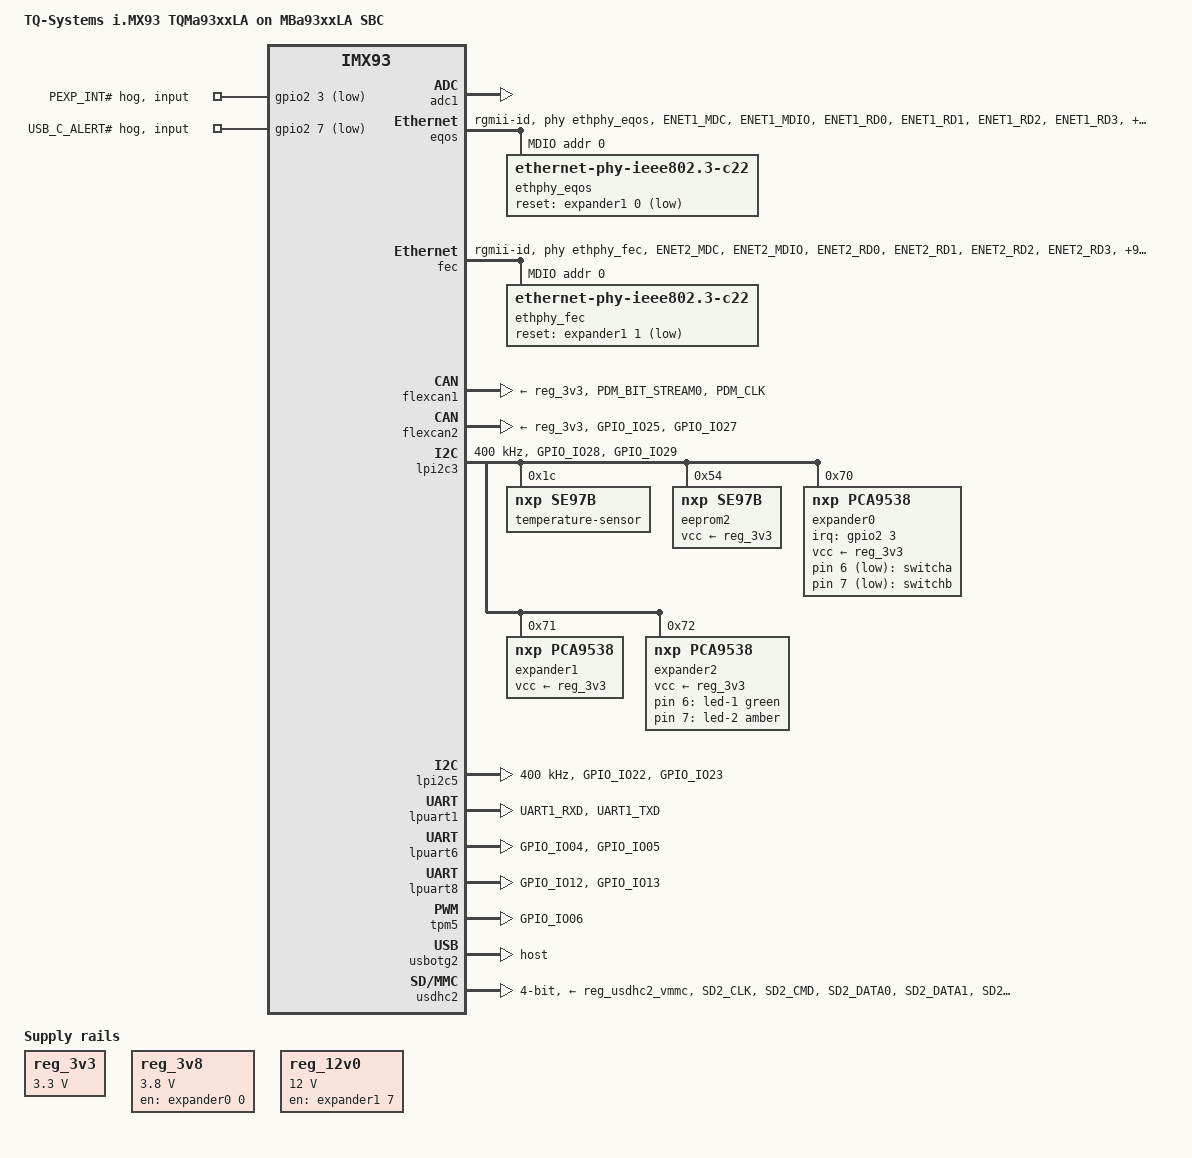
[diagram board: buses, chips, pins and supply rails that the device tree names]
// SPDX-License-Identifier: (GPL-2.0-or-later OR MIT)
/*
 * Copyright (c) 2022-2023 TQ-Systems GmbH <linux@ew.tq-group.com>,
 * D-82229 Seefeld, Germany.
 * Author: Markus Niebel
 */
/dts-v1/;

#include <dt-bindings/input/input.h>
#include <dt-bindings/leds/common.h>
#include <dt-bindings/net/ti-dp83867.h>
#include <dt-bindings/pwm/pwm.h>
#include <dt-bindings/usb/pd.h>
#include "imx93-tqma9352.dtsi"

/{
	model = "TQ-Systems i.MX93 TQMa93xxLA on MBa93xxLA SBC";
	compatible = "tq,imx93-tqma9352-mba93xxla",
		     "tq,imx93-tqma9352", "fsl,imx93";

	chosen {
		stdout-path = &lpuart1;
	};

	aliases {
		eeprom0 = &eeprom0;
		rtc0 = &pcf85063;
		rtc1 = &bbnsm_rtc;
	};

	backlight_lvds: backlight {
		compatible = "pwm-backlight";
		pwms = <&tpm5 0 5000000 0>;
		brightness-levels = <0 4 8 16 32 64 128 255>;
		default-brightness-level = <7>;
		power-supply = <&reg_12v0>;
		enable-gpios = <&expander2 2 GPIO_ACTIVE_HIGH>;
		status = "disabled";
	};

	display: display {
		/*
		 * Display is not fixed, so compatible has to be added from
		 * DT overlay
		 */
		power-supply = <&reg_3v3>;
		enable-gpios = <&expander2 1 GPIO_ACTIVE_HIGH>;
		backlight = <&backlight_lvds>;
		status = "disabled";

		port {
			panel_in_lvds0: endpoint {
				remote-endpoint = <&lvds_channel0_out>;
			};
		};
	};

	gpio-keys {
		compatible = "gpio-keys";
		autorepeat;

		switch-a {
			label = "switcha";
			linux,code = <BTN_0>;
			gpios = <&expander0 6 GPIO_ACTIVE_LOW>;
			wakeup-source;
		};

		switch-b {
			label = "switchb";
			linux,code = <BTN_1>;
			gpios = <&expander0 7 GPIO_ACTIVE_LOW>;
			wakeup-source;
		};
	};

	gpio-leds {
		compatible = "gpio-leds";

		led-1 {
			color = <LED_COLOR_ID_GREEN>;
			function = LED_FUNCTION_STATUS;
			gpios = <&expander2 6 GPIO_ACTIVE_HIGH>;
			linux,default-trigger = "default-on";
		};

		led-2 {
			color = <LED_COLOR_ID_AMBER>;
			function = LED_FUNCTION_HEARTBEAT;
			gpios = <&expander2 7 GPIO_ACTIVE_HIGH>;
			linux,default-trigger = "heartbeat";
		};
	};

	reg_3v3: regulator-3v3 {
		compatible = "regulator-fixed";
		regulator-name = "V_3V3";
		regulator-min-microvolt = <3300000>;
		regulator-max-microvolt = <3300000>;
		regulator-always-on;
	};

	reg_3v8: regulator-3v8 {
		compatible = "regulator-fixed";
		regulator-name = "V_3V8";
		regulator-min-microvolt = <3800000>;
		regulator-max-microvolt = <3800000>;
		gpio = <&expander0 0 GPIO_ACTIVE_HIGH>;
		enable-active-high;
		/* TODO: this is supply for IOT module */
		regulator-always-on;
	};

	reg_12v0: regulator-12v0 {
		compatible = "regulator-fixed";
		regulator-name = "V_12V";
		regulator-min-microvolt = <12000000>;
		regulator-max-microvolt = <12000000>;
		gpio = <&expander1 7 GPIO_ACTIVE_HIGH>;
		enable-active-high;
	};
};

&adc1 {
	status = "okay";
};

&eqos {
	pinctrl-names = "default";
	pinctrl-0 = <&pinctrl_eqos>, <&pinctrl_eqos_phy>;
	phy-mode = "rgmii-id";
	phy-handle = <&ethphy_eqos>;
	status = "okay";

	mdio {
		compatible = "snps,dwmac-mdio";
		#address-cells = <1>;
		#size-cells = <0>;

		ethphy_eqos: ethernet-phy@0 {
			compatible = "ethernet-phy-ieee802.3-c22";
			reg = <0>;
			reset-gpios = <&expander1 0 GPIO_ACTIVE_LOW>;
			reset-assert-us = <500000>;
			reset-deassert-us = <50000>;
			ti,rx-internal-delay = <DP83867_RGMIIDCTL_2_25_NS>;
			ti,tx-internal-delay = <DP83867_RGMIIDCTL_2_25_NS>;
			ti,fifo-depth = <DP83867_PHYCR_FIFO_DEPTH_4_B_NIB>;
			ti,dp83867-rxctrl-strap-quirk;
			ti,clk-output-sel = <DP83867_CLK_O_SEL_OFF>;
			enet-phy-lane-no-swap;
			/* LED0: Link, LED2: activity */
			ti,led-function = <0x0100>;
			/* LED0/2: active High, driven by phy function */
			ti,led-ctrl = <0x1414>;
		};
	};
};

&fec {
	pinctrl-names = "default";
	pinctrl-0 = <&pinctrl_fec>, <&pinctrl_fec_phy>;
	phy-mode = "rgmii-id";
	phy-handle = <&ethphy_fec>;
	fsl,magic-packet;
	status = "okay";

	mdio {
		#address-cells = <1>;
		#size-cells = <0>;
		clock-frequency = <5000000>;

		ethphy_fec: ethernet-phy@0 {
			compatible = "ethernet-phy-ieee802.3-c22";
			reg = <0>;
			reset-gpios = <&expander1 1 GPIO_ACTIVE_LOW>;
			reset-assert-us = <500000>;
			reset-deassert-us = <50000>;
			ti,rx-internal-delay = <DP83867_RGMIIDCTL_2_25_NS>;
			ti,tx-internal-delay = <DP83867_RGMIIDCTL_2_25_NS>;
			ti,fifo-depth = <DP83867_PHYCR_FIFO_DEPTH_4_B_NIB>;
			ti,dp83867-rxctrl-strap-quirk;
			ti,clk-output-sel = <DP83867_CLK_O_SEL_OFF>;
			enet-phy-lane-no-swap;
			/* LED0: Link, LED2: activity */
			ti,led-function = <0x0100>;
			/* LED0/2: active High, driven by phy function */
			ti,led-ctrl = <0x1414>;
		};
	};
};

&flexcan1 {
	pinctrl-names = "default";
	pinctrl-0 = <&pinctrl_flexcan1>;
	xceiver-supply = <&reg_3v3>;
	status = "okay";
};

&flexcan2 {
	pinctrl-names = "default";
	pinctrl-0 = <&pinctrl_flexcan2>;
	xceiver-supply = <&reg_3v3>;
	status = "okay";
};

&gpio2 {
	expander-irq-hog {
		gpio-hog;
		gpios = <3 GPIO_ACTIVE_LOW>;
		input;
		line-name = "PEXP_INT#";
	};

	tcpc-irq-hog {
		gpio-hog;
		gpios = <7 GPIO_ACTIVE_LOW>;
		input;
		line-name = "USB_C_ALERT#";
	};
};

&ldb {
	lvds-channel@0 {
		port@1 {
			reg = <1>;

			lvds_channel0_out: endpoint {
				remote-endpoint = <&panel_in_lvds0>;
			};
		};
	};
};

&lpi2c3 {
	#address-cells = <1>;
	#size-cells = <0>;
	clock-frequency = <400000>;
	pinctrl-names = "default", "sleep";
	pinctrl-0 = <&pinctrl_lpi2c3>;
	pinctrl-1 = <&pinctrl_lpi2c3>;
	status = "okay";

	/* NXP SE97BTP with temperature sensor + eeprom */
	temperature-sensor@1c {
		compatible = "nxp,se97b", "jedec,jc-42.4-temp";
		reg = <0x1c>;
	};

	tcpc: ptn5110@50 {
		compatible = "nxp,ptn5110";
		pinctrl-names = "default";
		pinctrl-0 = <&pinctrl_typec>;
		reg = <0x50>;
		interrupt-parent = <&gpio2>;
		interrupts = <7 IRQ_TYPE_EDGE_FALLING>;
		status = "disabled";

		port {
			typec_drd_sw: endpoint {
				remote-endpoint = <&usb1_drd_sw>;
			};
		};

		connector {
			compatible = "usb-c-connector";
			label = "USB-C";
			power-role = "dual";
			data-role = "dual";
			try-power-role = "sink";
			typec-power-opmode = "default";
			pd-disable;
			self-powered;
		};
	};

	eeprom2: eeprom@54 {
		compatible = "nxp,se97b", "atmel,24c02";
		reg = <0x54>;
		pagesize = <16>;
		vcc-supply = <&reg_3v3>;
	};

	expander0: gpio@70 {
		compatible = "nxp,pca9538";
		reg = <0x70>;
		pinctrl-names = "default";
		pinctrl-0 = <&pinctrl_pexp_irq>;
		gpio-controller;
		#gpio-cells = <2>;
		interrupt-controller;
		#interrupt-cells = <2>;
		interrupt-parent = <&gpio2>;
		interrupts = <3 IRQ_TYPE_LEVEL_LOW>;
		vcc-supply = <&reg_3v3>;
		gpio-line-names = "3V8_EN", "",
				  "", "IOT_PWRKEY",
				  "IOT_RESET", "IOT_W_DISABLE",
				  "BUTTON_A#", "BUTTON_B#";

		/*
		 * Controls the IOT W_DISABLE pin which is low active
		 * as disable signal but inverted as seen from the CPU.
		 * The output-low states, the signal is
		 * inactive, e.g. not disabled
		 */
		iot_wdisable_hog: iot-wdisable-hog {
			gpio-hog;
			gpios = <5 GPIO_ACTIVE_HIGH>;
			output-low;
			line-name = "IOT_W_DISABLE";
		};
	};

	expander1: gpio@71 {
		compatible = "nxp,pca9538";
		reg = <0x71>;
		gpio-controller;
		#gpio-cells = <2>;
		vcc-supply = <&reg_3v3>;
		gpio-line-names = "ENET1_RESET#", "ENET2_RESET#",
				  "USB_RESET#", "",
				  "WLAN_PD#", "WLAN_W_DISABLE#",
				  "WLAN_PERST#", "12V_EN";

		/*
		 * Controls the on board USB Hub reset which is low
		 * active as reset signal. The output-low states, the
		 * signal is inactive, e.g. no reset
		 */
		usb-reset-hog {
			gpio-hog;
			gpios = <2 GPIO_ACTIVE_LOW>;
			output-low;
			line-name = "USB_RESET#";
		};

		/*
		 * Controls the WiFi card PD pin which is low active
		 * as power down signal. The output-low states, the signal
		 * is inactive, e.g. not power down
		 */
		wlan-pd-hog {
			gpio-hog;
			gpios = <4 GPIO_ACTIVE_LOW>;
			output-low;
			line-name = "WLAN_PD#";
		};

		/*
		 * Controls the WiFi card disable pin which is low active
		 * as disable signal. The output-low states, the signal
		 * is inactive, e.g. not disabled
		 */
		wlan-wdisable-hog {
			gpio-hog;
			gpios = <5 GPIO_ACTIVE_LOW>;
			output-low;
			line-name = "WLAN_W_DISABLE#";
		};

		/*
		 * Controls the WiFi card reset pin which is low active
		 * as reset signal. The output-low states, the signal
		 * is inactive, e.g. not in reset
		 */
		wlan-perst-hog {
			gpio-hog;
			gpios = <6 GPIO_ACTIVE_LOW>;
			output-low;
			line-name = "WLAN_PERST#";
		};
	};

	expander2: gpio@72 {
		compatible = "nxp,pca9538";
		reg = <0x72>;
		gpio-controller;
		#gpio-cells = <2>;
		vcc-supply = <&reg_3v3>;
		gpio-line-names = "LCD_RESET#", "LCD_PWR_EN",
				  "LCD_BLT_EN", "DP_EN",
				  "MIPI_CSI_EN", "MIPI_CSI_RST#",
				  "USER_LED1", "USER_LED2";
	};
};

&lpi2c5 {
	#address-cells = <1>;
	#size-cells = <0>;
	clock-frequency = <400000>;
	pinctrl-names = "default", "sleep";
	pinctrl-0 = <&pinctrl_lpi2c5>;
	pinctrl-1 = <&pinctrl_lpi2c5>;
	status = "okay";
};

&lpuart1 { /* console */
	pinctrl-names = "default";
	pinctrl-0 = <&pinctrl_uart1>;
	status = "okay";
};

/* disabled per default, console for M33 */
&lpuart3 {
	pinctrl-names = "default";
	pinctrl-0 = <&pinctrl_uart3>;
	status = "disabled";
};

&lpuart6 {
	pinctrl-names = "default";
	pinctrl-0 = <&pinctrl_uart6>;
	status = "okay";
};

&lpuart8 {
	pinctrl-names = "default";
	pinctrl-0 = <&pinctrl_uart8>;
	status = "okay";
};

&tpm5 {
	pinctrl-names = "default";
	pinctrl-0 = <&pinctrl_tpm5>;
	status = "okay";
};

&usbotg1 {
	dr_mode = "otg";
	hnp-disable;
	srp-disable;
	adp-disable;
	usb-role-switch;
	disable-over-current;
	status = "disabled";

	port {
		usb1_drd_sw: endpoint {
			remote-endpoint = <&typec_drd_sw>;
		};
	};
};

&usbotg2 {
	dr_mode = "host";
	disable-over-current;
	status = "okay";
};

&usdhc2 {
	pinctrl-names = "default", "state_100mhz", "state_200mhz";
	pinctrl-0 = <&pinctrl_usdhc2_hs>, <&pinctrl_usdhc2_gpio>;
	pinctrl-1 = <&pinctrl_usdhc2_uhs>, <&pinctrl_usdhc2_gpio>;
	pinctrl-2 = <&pinctrl_usdhc2_uhs>, <&pinctrl_usdhc2_gpio>;
	cd-gpios = <&gpio3 00 GPIO_ACTIVE_LOW>;
	vmmc-supply = <&reg_usdhc2_vmmc>;
	bus-width = <4>;
	status = "okay";
	no-sdio;
	no-mmc;
};

&iomuxc {
	pinctrl_eqos: eqosgrp {
		fsl,pins = <
			/* PD | FSEL_2 | DSE X4 */
			MX93_PAD_ENET1_MDC__ENET_QOS_MDC		0x51e
			MX93_PAD_ENET1_MDIO__ENET_QOS_MDIO		0x4000051e
			/* PD | FSEL_2 | DSE X6 */
			MX93_PAD_ENET1_RD0__ENET_QOS_RGMII_RD0		0x57e
			MX93_PAD_ENET1_RD1__ENET_QOS_RGMII_RD1		0x57e
			MX93_PAD_ENET1_RD2__ENET_QOS_RGMII_RD2		0x57e
			MX93_PAD_ENET1_RD3__ENET_QOS_RGMII_RD3		0x57e
			/* PD | FSEL_3 | DSE X6 */
			MX93_PAD_ENET1_RXC__CCM_ENET_QOS_CLOCK_GENERATE_RX_CLK	0x5fe
			MX93_PAD_ENET1_RX_CTL__ENET_QOS_RGMII_RX_CTL	0x57e
			/* PD | FSEL_2 | DSE X4 */
			MX93_PAD_ENET1_TD0__ENET_QOS_RGMII_TD0		0x51e
			MX93_PAD_ENET1_TD1__ENET_QOS_RGMII_TD1		0x51e
			MX93_PAD_ENET1_TD2__ENET_QOS_RGMII_TD2		0x51e
			MX93_PAD_ENET1_TD3__ENET_QOS_RGMII_TD3		0x51e
			MX93_PAD_ENET1_TX_CTL__ENET_QOS_RGMII_TX_CTL	0x51e
			/* PD | FSEL_3 | DSE X3 */
			MX93_PAD_ENET1_TXC__CCM_ENET_QOS_CLOCK_GENERATE_TX_CLK	0x58e
		>;
	};

	pinctrl_eqos_phy: eqosphygrp {
		fsl,pins = <
			MX93_PAD_CCM_CLKO1__GPIO3_IO26		0x1306
		>;
	};

	pinctrl_fec: fecgrp {
		fsl,pins = <
			/* PD | FSEL_2 | DSE X4 */
			MX93_PAD_ENET2_MDC__ENET1_MDC			0x51e
			MX93_PAD_ENET2_MDIO__ENET1_MDIO			0x4000051e
			/* PD | FSEL_2 | DSE X6 */
			MX93_PAD_ENET2_RD0__ENET1_RGMII_RD0		0x57e
			MX93_PAD_ENET2_RD1__ENET1_RGMII_RD1		0x57e
			MX93_PAD_ENET2_RD2__ENET1_RGMII_RD2		0x57e
			MX93_PAD_ENET2_RD3__ENET1_RGMII_RD3		0x57e
			/* PD | FSEL_3 | DSE X6 */
			MX93_PAD_ENET2_RXC__ENET1_RGMII_RXC		0x5fe
			MX93_PAD_ENET2_RX_CTL__ENET1_RGMII_RX_CTL	0x57e
			/* PD | FSEL_2 | DSE X4 */
			MX93_PAD_ENET2_TD0__ENET1_RGMII_TD0		0x51e
			MX93_PAD_ENET2_TD1__ENET1_RGMII_TD1		0x51e
			MX93_PAD_ENET2_TD2__ENET1_RGMII_TD2		0x51e
			MX93_PAD_ENET2_TD3__ENET1_RGMII_TD3		0x51e
			MX93_PAD_ENET2_TX_CTL__ENET1_RGMII_TX_CTL	0x51e
			/* PD | FSEL_3 | DSE X3 */
			MX93_PAD_ENET2_TXC__ENET1_RGMII_TXC		0x58e
		>;
	};

	pinctrl_fec_phy: fecphygrp {
		fsl,pins = <
			MX93_PAD_CCM_CLKO2__GPIO3_IO27		0x1306
		>;
	};

	pinctrl_flexcan1: flexcan1grp {
		fsl,pins = <
			MX93_PAD_PDM_BIT_STREAM0__CAN1_RX	0x139e
			MX93_PAD_PDM_CLK__CAN1_TX		0x139e
		>;
	};

	pinctrl_flexcan2: flexcan2grp {
		fsl,pins = <
			MX93_PAD_GPIO_IO25__CAN2_TX		0x139e
			MX93_PAD_GPIO_IO27__CAN2_RX		0x139e
		>;
	};

	pinctrl_lpi2c3: lpi2c3grp {
		fsl,pins = <
			MX93_PAD_GPIO_IO28__LPI2C3_SDA		0x40000b9e
			MX93_PAD_GPIO_IO29__LPI2C3_SCL		0x40000b9e
		>;
	};

	pinctrl_lpi2c5: lpi2c5grp {
		fsl,pins = <
			MX93_PAD_GPIO_IO22__LPI2C5_SDA		0x40000b9e
			MX93_PAD_GPIO_IO23__LPI2C5_SCL		0x40000b9e
		>;
	};

	pinctrl_pexp_irq: pexpirqgrp {
		fsl,pins = <
			MX93_PAD_GPIO_IO03__GPIO2_IO03		0x1306
		>;
	};

	pinctrl_tpm5: tpm5grp {
		fsl,pins = <
			MX93_PAD_GPIO_IO06__TPM5_CH0		0x57e
		>;
	};

	/* TODO: */
	pinctrl_typec: typecgrp {
		fsl,pins = <
			MX93_PAD_GPIO_IO07__GPIO2_IO07		0x1306
		>;
	};

	pinctrl_uart1: uart1grp {
		fsl,pins = <
			MX93_PAD_UART1_RXD__LPUART1_RX		0x31e
			MX93_PAD_UART1_TXD__LPUART1_TX		0x31e
		>;
	};

	pinctrl_uart3: uart3grp {
		fsl,pins = <
			MX93_PAD_GPIO_IO14__LPUART3_TX		0x31e
			MX93_PAD_GPIO_IO15__LPUART3_RX		0x31e
		>;
	};

	pinctrl_uart6: uart6grp {
		fsl,pins = <
			MX93_PAD_GPIO_IO04__LPUART6_TX		0x31e
			MX93_PAD_GPIO_IO05__LPUART6_RX		0x31e
		>;
	};

	pinctrl_uart8: uart8grp {
		fsl,pins = <
			MX93_PAD_GPIO_IO12__LPUART8_TX		0x31e
			MX93_PAD_GPIO_IO13__LPUART8_RX		0x31e
		>;
	};

	pinctrl_usdhc2_gpio: usdhc2gpiogrp {
		fsl,pins = <
			MX93_PAD_SD2_CD_B__GPIO3_IO00		0x31e
		>;
	};

	pinctrl_usdhc2_hs: usdhc2hsgrp {
		fsl,pins = <
			/* HYS | PD | PU | FSEL_3 | DSE X5 */
			MX93_PAD_SD2_CLK__USDHC2_CLK		0x17be
			/* HYS | PD | PU | FSEL_3 | DSE X4 */
			MX93_PAD_SD2_CMD__USDHC2_CMD		0x139e
			/* HYS | PD | PU | FSEL_3 | DSE X3 */
			MX93_PAD_SD2_DATA0__USDHC2_DATA0	0x138e
			MX93_PAD_SD2_DATA1__USDHC2_DATA1	0x138e
			MX93_PAD_SD2_DATA2__USDHC2_DATA2	0x138e
			MX93_PAD_SD2_DATA3__USDHC2_DATA3	0x138e
			/* PD | PU | FSEL_2 | DSE X3 */
			MX93_PAD_SD2_VSELECT__USDHC2_VSELECT	0x50e
		>;
	};

	pinctrl_usdhc2_uhs: usdhc2uhsgrp {
		fsl,pins = <
			/* HYS | PD | PU | FSEL_3 | DSE X6 */
			MX93_PAD_SD2_CLK__USDHC2_CLK		0x17fe
			/* HYS | PD | PU | FSEL_3 | DSE X4 */
			MX93_PAD_SD2_CMD__USDHC2_CMD		0x139e
			MX93_PAD_SD2_DATA0__USDHC2_DATA0	0x139e
			MX93_PAD_SD2_DATA1__USDHC2_DATA1	0x139e
			MX93_PAD_SD2_DATA2__USDHC2_DATA2	0x139e
			MX93_PAD_SD2_DATA3__USDHC2_DATA3	0x139e
			/* PD | PU | FSEL_2 | DSE X3 */
			MX93_PAD_SD2_VSELECT__USDHC2_VSELECT	0x50e
		>;
	};
};
